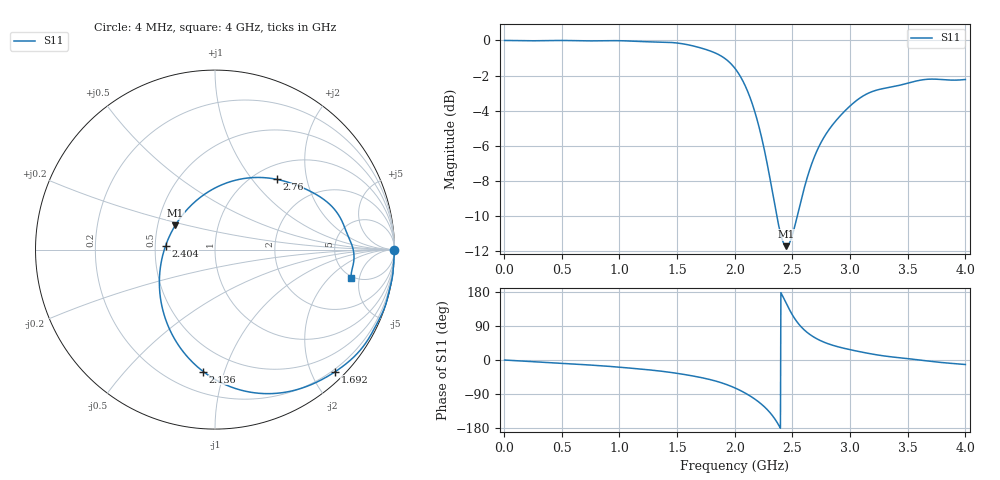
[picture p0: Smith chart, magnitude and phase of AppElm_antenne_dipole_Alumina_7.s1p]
! TOUCHSTONE file generated by CST MICROWAVE STUDIO
! Date and time: Sat May 14 12:01:00 2022
! Project name: AppElm_antenne_dipole_Alumina.cst
! Parameters = {L=33; e=0.035; f=2.45e+09; h=1.6; i=0.8; l1=2; lambda=122.449; ls=31.5; wl=1.7; ws=80}
! Header version: 2018
! Port assignment regex: !\s*Touchstone port\s*([0-9]+)\s*=\s*(CST MWS port|CST DS port)\s*([0-9]+|Zmin|Zmax)\s*\(\"(.*)\"\)(\s*mode\s*([0-9]+))?.*
! Touchstone port assignment:
! Touchstone port 1 = CST MWS port 1 ("")
# GHz S MA R 50
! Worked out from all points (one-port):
!   1000 points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, 4 MHz to 4 GHz, reference 50 ohm
!   lowest |S11| = -11.7 dB at 2.448 GHz (marker M1), VSWR 1.70, Z = 30.9 + j8.92 ohm
!   |S11| at or under -10 dB: 2.364 GHz to 2.542 GHz (177.7 MHz wide, 7.24 % of centre)
!   S11 on the Smith chart (normalised r, x): 4 MHz: open; 1.692 GHz: 0.16, -2.38; 2.136 GHz: 0.33, -0.85; 2.404 GHz: 0.57, +0.03; 2.76 GHz: 1.25, +1.34; 4 GHz: 4.74, -3.79
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0.004  1 -0.1
0.504  1 -8.7
1.004  0.9984 -19.1
1.32  0.9902 -28.0
1.504  0.983 -35.4
1.692  0.9547 -45.4
1.784  0.9342 -51.5
1.86  0.9114 -57.8
1.94  0.8749 -66.0
2.004  0.8307 -74.1
2.072  0.7646 -84.2
2.136  0.6829 -95.5
2.212  0.5642 -111.8
2.276  0.4542 -129.1
2.34  0.3498 -152.3
2.404  0.276 175.4
2.448  0.2594 148.7
2.504  0.2823 116.9
2.56  0.3345 92.9
2.62  0.3982 74.7
2.684  0.4604 60.8
2.76  0.5205 48.8
2.864  0.5836 37.5
3.004  0.6526 27.0
3.204  0.7175 15.0
3.504  0.7562 3.5
3.684  0.7757 -3.0
4  0.7741 -11.9
